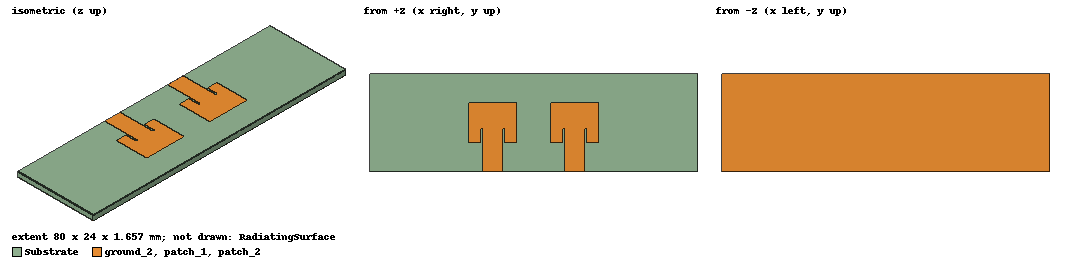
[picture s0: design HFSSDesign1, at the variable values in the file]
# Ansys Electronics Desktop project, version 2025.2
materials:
  vacuum: permittivity=1
  Rogers RT/duroid 5880 (tm): permittivity=2.2 dielectric_loss_tangent=0.0009
  copper: permeability=0.999991 conductivity=58000000

design HFSSDesign1 (HFSS, HFSS Terminal Network, model units mm)
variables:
  a = 30mm
  b = 24mm
  h = 1.588mm
  t = 0.017mm
  w = 11.86mm
  l = 9.64mm
  feed = 4.89mm
  l_inset = 3.26mm
  g = 20mm
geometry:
  Substrate [Rogers RT/duroid 5880 (tm)] = box(corner=(-a/2-g/2, -b/2, 0), size=(a +g, b, -h))
  ground = box(corner=(-a/2-g/2, -b/2, -h), size=(a+g, b, -t))
  coordinate_system RelativeCS1 = origin=(15mm, 0mm, 0mm) x=(1mm, 0mm, 0mm) y=(0mm, 1mm, 0mm)
  patch_1 [copper] = box(corner=(-w/2-g/2, -l/2, 0mm), size=(w, l, t)) in RelativeCS1
  Box2 = box(corner=(-feed/2-g/2, -b/2, 0mm), size=(feed, 12mm, t)) in RelativeCS1
  patch_1.unite(Box2)
  port_1 = rectangle(corner=(-feed/2 +g/2, -b/2, t), z_size=-h-2*t, x_size=feed) in RelativeCS1
  RadiatingSurface [vacuum] = region(absolute_offset=10mm on all sides)
  Box3 = box(corner=(feed/2-g/2, -l/2, 0mm), size=(0.5mm, l_inset, t)) in RelativeCS1
  Box4 = box(corner=(-feed/2-g/2, -l/2, 0mm), size=(-0.5mm, l_inset, t)) in RelativeCS1
  patch_1.subtract(Box3, Box4)
  Substrate_1 = Substrate.duplicate_mirror(point=(0mm, 0mm, 0mm), normal=(1mm, 0mm, 0mm)) in RelativeCS1
  Substrate.unite(Substrate_1)
  ground_2 [copper] = ground.duplicate_mirror(point=(0mm, -12mm, 0mm), normal=(1mm, 0mm, 0mm)) in RelativeCS1
  patch_2 [copper] = patch_1.duplicate_mirror(point=(0mm, -12mm, 0mm), normal=(1mm, 0mm, 0mm)) in RelativeCS1
  ground_2.unite(ground)
  port_2 = port_1.duplicate_mirror(point=(0mm, 0mm, 10.017mm), normal=(0.999999mm, 0mm, -0.0014166652mm)) in RelativeCS1
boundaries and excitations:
  Open1: Radiation Objects=RadiatingSurface
  1: Lumped Port Objects=port_1 LumpedPortType=Modal Modes{Mode1{IntLine{(25, -12, -1.605) -> (25, -12, 0.017)} CharImp=Zpi}} Impedance=50ohm
  2: Lumped Port Objects=port_2 LumpedPortType=Modal Modes{Mode1{IntLine{(4.9671112, -12, -1.5766201) -> (4.9717069, -12, 0.045373415)} CharImp=Zpi}} Impedance=50ohm
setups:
  Setup1: HfssDriven Frequency=10GHz MaxDeltaS=0.01 MaximumPasses=15 MinimumPasses=1 MinimumConvergedPasses=1 PercentRefinement=30 BasisOrder=1 PortAccuracy=2 DrivenSolverType="Direct Solver"
    sweep Sweep: 8GHz to 12GHz step 0.02GHz; Type=Fast SaveFields
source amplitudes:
  1:1, 2:1: 1V 0deg
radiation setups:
  3D: Infinite Sphere Theta=0deg..180deg step 2deg Phi=-180deg..180deg step 2deg
  Elevation: Infinite Sphere Theta=-180deg..180deg step 1deg Phi=0deg..90deg step 90deg
  Azimuth: Infinite Sphere Theta=90deg..90deg step 0deg Phi=-180deg..180deg step 1deg
